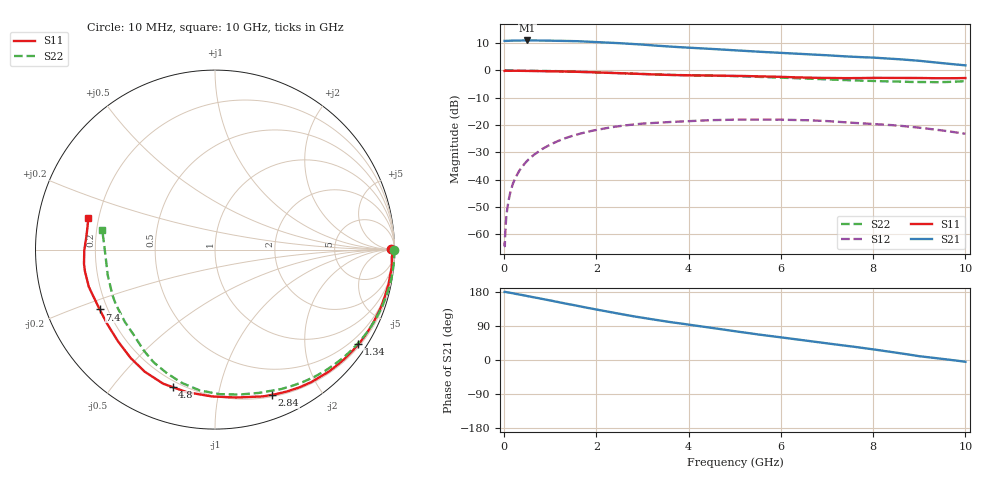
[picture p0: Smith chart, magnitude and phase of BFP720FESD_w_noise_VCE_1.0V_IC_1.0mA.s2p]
! Infineon Technologies  Discrete & RF Semiconductors
! BFP720FESD
! VCE =  1.0 V,  IC =  1.0 mA
! Common Emitter S-Parameters:  Jan 2016
# GHz  S  MA  R  50
!  f  S11  S21  S12  S22
! GHz  MAG  ANG  MAG  ANG  MAG  ANG  MAG  ANG
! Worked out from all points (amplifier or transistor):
!   233 points, 10 MHz to 10 GHz, reference 50 ohm
!   highest |S21| = 11.0 dB at 500 MHz (marker M1)
!   |S21| within 3 dB of that: start of sweep to 4.376 GHz
!   unconditionally stable (mu >= 1): start of sweep to 10.02507 MHz; 9.195 GHz to end of sweep
!   at 200 MHz: K = 0.00, MSG = 26.0 dB, |S12| = -41.1 dB
!   at 1.74 GHz: K = 0.09, MSG = 16.7 dB, |S12| = -22.8 dB
!   at 10 GHz: K = 1.32, MAG = 9.2 dB, |S12| = -23.2 dB
!   lowest NFmin = 0.46 dB at 450 MHz
!   S11 on the Smith chart (normalised r, x): 10 MHz: open; 1.34 GHz: 0.26, -3.31; 2.84 GHz: 0.22, -1.45; 4.8 GHz: 0.17, -0.72; 7.4 GHz: 0.17, -0.24; 10 GHz: 0.16, +0.12
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0.01  0.9828 0.1  3.502 179.7  0.0007 9.1  0.9977 0.0
0.015  0.9865 -0.2  3.491 179.8  0.0006 58.4  0.9987 -0.3
0.025  0.9902 -0.6  3.483 179.7  0.0011 92.0  0.9997 -0.6
0.055  0.99 -1.4  3.495 178.8  0.0024 86.9  0.9995 -1.2
0.085  0.987 -2.1  3.509 178.4  0.0037 87.6  0.9995 -1.8
0.145  0.9873 -3.7  3.529 177.0  0.0064 87.6  0.9992 -3.1
0.3  0.9875 -7.5  3.543 173.5  0.0132 84.5  0.9979 -6.3
0.5  0.9842 -12.4  3.555 168.8  0.0221 80.4  0.9946 -10.6
0.98  0.9716 -24.4  3.53 157.6  0.0429 70.3  0.9797 -20.9
1.34  0.9571 -33.4  3.487 148.8  0.0578 62.5  0.9631 -28.9
1.68  0.9402 -41.8  3.418 140.7  0.0706 55.1  0.9439 -36.5
2.2  0.9126 -53.9  3.269 128.7  0.0872 44.5  0.912 -47.8
2.84  0.8696 -68.5  3.046 114.6  0.103 32.0  0.8693 -61.4
3.4  0.836 -79.8  2.816 103.7  0.1111 22.4  0.8385 -71.3
4.8  0.8016 -107.1  2.399 79.5  0.1242 2.1  0.7939 -93.0
5.1  0.7963 -112.8  2.319 74.3  0.1254 -2.3  0.7834 -97.7
6  0.7649 -128.0  2.113 59.8  0.1253 -14.8  0.7402 -111.0
6.8  0.7329 -142.0  1.941 46.9  0.12 -25.8  0.6978 -122.5
7.4  0.7239 -152.6  1.814 37.8  0.112 -33.4  0.6659 -130.4
8.4  0.7347 -170.6  1.644 21.1  0.0996 -44.2  0.631 -151.2
9  0.7283 -179.7  1.506 10.0  0.0894 -51.7  0.6143 -166.6
10  0.7269 166.0  1.243 -4.8  0.0691 -60.3  0.6385 169.9
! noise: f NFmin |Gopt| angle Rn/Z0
0.45  0.46  0.85  5  0.47
2.4  0.87  0.66  37  0.43
5.5  1.17  0.64  105  0.24
10  2.33  0.52  -167  0.14
